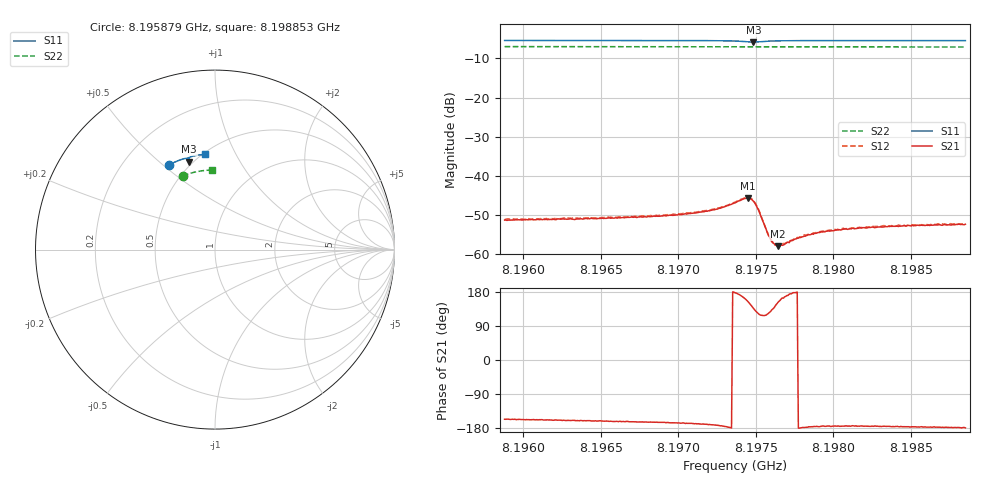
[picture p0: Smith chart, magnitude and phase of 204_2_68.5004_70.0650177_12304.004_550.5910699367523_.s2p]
#  HZ  S  RI  R  50.00
! Rohde & Schwarz Vector Network Analyzer
! Rohde-Schwarz,ZNB20-2Port,1311601062101988,3.16
! Created: UTC 3/20/2024, 5:12:52 PM
! freq[Hz]  re:S11  im:S11  re:S21  im:S21  re:S12  im:S12  re:S22  im:S22
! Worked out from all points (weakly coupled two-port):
!   401 points, 8.195879 GHz to 8.198853 GHz, reference 50 ohm
!   highest |S21| = -45.69 dB at 8.197448 GHz (marker M1); lowest = -58.0 dB at 8.197641 GHz (marker M2)
!   lowest |S11| = -5.8 dB at 8.197485 GHz (marker M3), VSWR 3.10, Z = 23.8 + j31.6 ohm
!   |S11| at or under -10 dB: nowhere
!   |S22| runs from -7.1 to -7.0 dB; largest |S21 - S12| = 0.00025
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8.1958792e9  -0.2553 0.4724  -0.00248 -0.00109  -0.00256 -0.001  -0.1785 0.4111
8.1963773e9  -0.223 0.488  -0.00264 -0.000962  -0.00273 -0.000875  -0.1523 0.4208
8.1968753e9  -0.1892 0.5012  -0.00293 -0.000809  -0.00304 -0.000698  -0.1253 0.4287
8.1970538e9  -0.1761 0.5054  -0.00315 -0.000737  -0.0033 -0.000605  -0.1156 0.4311
8.197195e9  -0.1645 0.5082  -0.00352 -0.000577  -0.00361 -0.000482  -0.1078 0.4329
8.1973065e9  -0.1537 0.5089  -0.00406 -0.000297  -0.00413 -0.000119  -0.1013 0.434
8.197366e9  -0.1469 0.5075  -0.0045 0.000198  -0.00458 0.000392  -0.0981 0.4347
8.1974478e9  -0.1399 0.4967  -0.00471 0.00219  -0.00469 0.00244  -0.0937 0.4352
8.1974701e9  -0.1421 0.4925  -0.00407 0.00292  -0.00402 0.00317  -0.0926 0.4353
8.1974849e9  -0.145 0.4907  -0.00342 0.00326  -0.00335 0.00346  -0.0918 0.4354
8.1975147e9  -0.1515 0.4918  -0.00204 0.00314  -0.00196 0.0033  -0.0905 0.4357
8.1975667e9  -0.1548 0.501  -0.00099 0.00182  -0.000923 0.00183  -0.0877 0.4364
8.1975964e9  -0.153 0.5053  -0.000942 0.00118  -0.000952 0.00125  -0.0859 0.4369
8.1976187e9  -0.1511 0.5077  -0.00101 0.0009  -0.000998 0.000941  -0.0846 0.437
8.197641e9  -0.1493 0.5096  -0.0011 0.000613  -0.00112 0.000698  -0.0834 0.4373
8.1976708e9  -0.1465 0.5117  -0.00124 0.000362  -0.00126 0.000471  -0.0818 0.4376
8.1977674e9  -0.1379 0.516  -0.00157 1.68e-05  -0.00162 8.59e-05  -0.0761 0.4386
8.197864e9  -0.1301 0.5185  -0.00181 -0.000127  -0.00181 -5.51e-05  -0.0709 0.4393
8.1979161e9  -0.126 0.5197  -0.00188 -0.000145  -0.00193 -6.82e-05  -0.0679 0.4396
8.1980648e9  -0.1148 0.5226  -0.00206 -0.000201  -0.00213 -0.000131  -0.0595 0.4406
8.1983621e9  -0.0932 0.5267  -0.00224 -0.000194  -0.0023 -8.21e-05  -0.0427 0.442
8.1988527e9  -0.0582 0.5311  -0.0024 -4.01e-05  -0.00243 3.63e-05  -0.0149 0.4429
